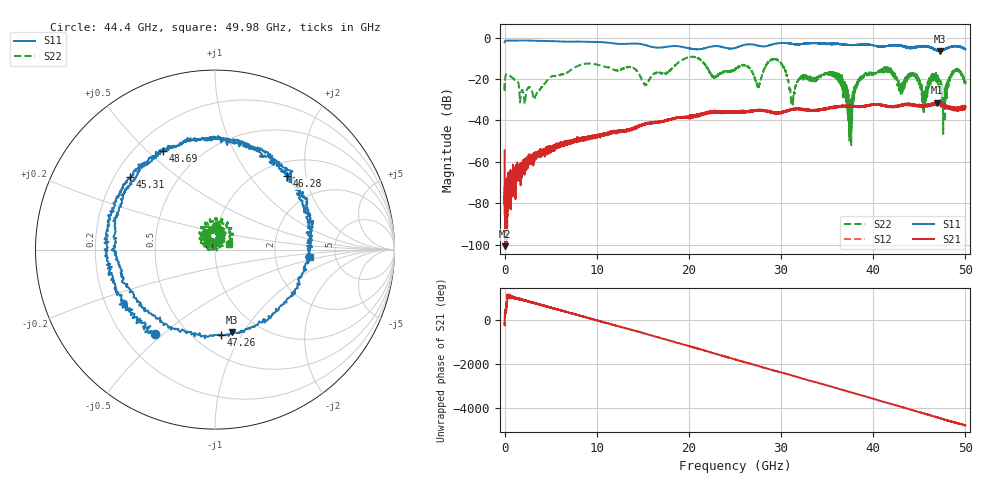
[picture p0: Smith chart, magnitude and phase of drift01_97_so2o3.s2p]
!Created with skrf (http://scikit-rf.org).
# Hz S RI R 50.0
!freq ReS11 ImS11 ReS21 ImS21 ReS12 ImS12 ReS22 ImS22
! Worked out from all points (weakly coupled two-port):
!   10001 points, 300 kHz to 50 GHz, reference 50 ohm
!   highest |S21| = -31.32 dB at 46.92 GHz (marker M1); lowest = -100.7 dB at 40.3 MHz (marker M2)
!   lowest |S11| = -6.6 dB at 47.21 GHz (marker M3), VSWR 2.76, Z = 38 - j44.6 ohm
!   |S11| at or under -10 dB: nowhere
!   |S22| runs from -52.4 to -9.2 dB; largest |S21 - S12| = 0.0054
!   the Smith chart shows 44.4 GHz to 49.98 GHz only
!   S11 on the Smith chart (normalised r, x): 44.4 GHz: 0.33, -0.47; 45.31 GHz: 0.26, +0.35; 46.28 GHz: 1.27, +1.55; 47.26 GHz: 0.66, -0.82; 48.69 GHz: 0.31, +0.56; 49.98 GHz: 3.19, -0.37
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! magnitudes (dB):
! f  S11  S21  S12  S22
! 300 kHz  -2.2  -54.4  -81.1  -22.0
! 40.3 MHz  -1.7  -100.7  -78.5  -21.1
! 3.29 GHz  -1.5  -56.7  -56.8  -28.9
! 8.335 GHz  -1.9  -49.2  -48.8  -12.9
! 16.67 GHz  -4.8  -40.6  -40.7  -16.6
! 25 GHz  -5.0  -35.6  -35.8  -15.5
! 29.59 GHz  -2.7  -36.6  -36.4  -10.6
! 31.24 GHz  -3.0  -34.6  -34.7  -31.7
! 33.34 GHz  -2.6  -34.9  -35.0  -20.0
! 36.21 GHz  -3.1  -33.3  -33.3  -21.0
! 37.47 GHz  -3.6  -33.1  -33.0  -40.5
! 38.66 GHz  -3.3  -33.3  -33.2  -20.2
! 41.67 GHz  -3.9  -33.2  -33.4  -15.8
! 44.4 GHz  -4.8  -32.7  -32.4  -17.7
! 45.31 GHz  -4.1  -32.9  -32.7  -28.5
! 46.28 GHz  -4.8  -32.5  -32.5  -19.1
! 46.92 GHz  -6.3  -31.3  -32.2  -20.4
! 47.21 GHz  -6.6  -32.2  -32.1  -24.7
! 47.26 GHz  -6.4  -32.7  -32.2  -23.9
! 48.69 GHz  -4.1  -34.5  -34.2  -16.0
! 49.98 GHz  -5.5  -33.2  -33.3  -21.6
! 50 GHz  -5.5  -33.2  -33.3  -21.4
